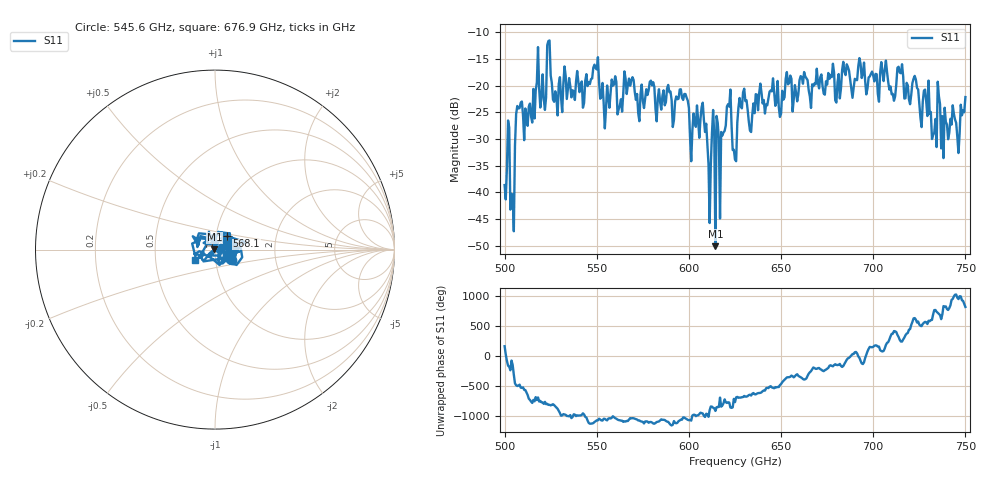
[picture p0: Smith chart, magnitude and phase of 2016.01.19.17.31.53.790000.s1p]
!Created with skrf (http://scikit-rf.org).
# GHz S RI R 50.0
!freq ReS11 ImS11
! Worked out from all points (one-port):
!   401 points, 500 GHz to 750 GHz, reference 50 ohm
!   lowest |S11| = -50.1 dB at 614.4 GHz (marker M1), VSWR 1.01, Z = 49.7 + j0.0644 ohm
!   |S11| at or under -10 dB: start of sweep to end of sweep
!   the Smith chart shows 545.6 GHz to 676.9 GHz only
!   S11 on the Smith chart (normalised r, x): 545.6 GHz: 1.20, -0.14; 568.1 GHz: 1.13, +0.17; 676.9 GHz: 0.80, -0.10
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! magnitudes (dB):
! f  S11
! 500 GHz  -38.6
! 501.2 GHz  -35.5
! 504.4 GHz  -40.4
! 508.1 GHz  -24.2
! 520.6 GHz  -17.9
! 524.4 GHz  -11.5
! 527.5 GHz  -21.0
! 531.2 GHz  -24.9
! 545.6 GHz  -19.3
! 562.5 GHz  -23.7
! 568.1 GHz  -20.0
! 593.8 GHz  -22.5
! 601.9 GHz  -28.3
! 608.1 GHz  -26.4
! 611.2 GHz  -45.7
! 614.4 GHz  -50.1
! 615.6 GHz  -27.0
! 621.9 GHz  -23.9
! 625 GHz  -33.8
! 628.8 GHz  -24.2
! 633.1 GHz  -28.4
! 656.2 GHz  -24.8
! 676.9 GHz  -18.0
! 687.5 GHz  -18.8
! 718.8 GHz  -19.9
! 728.8 GHz  -23.0
! 733.1 GHz  -28.8
! 750 GHz  -22.1
